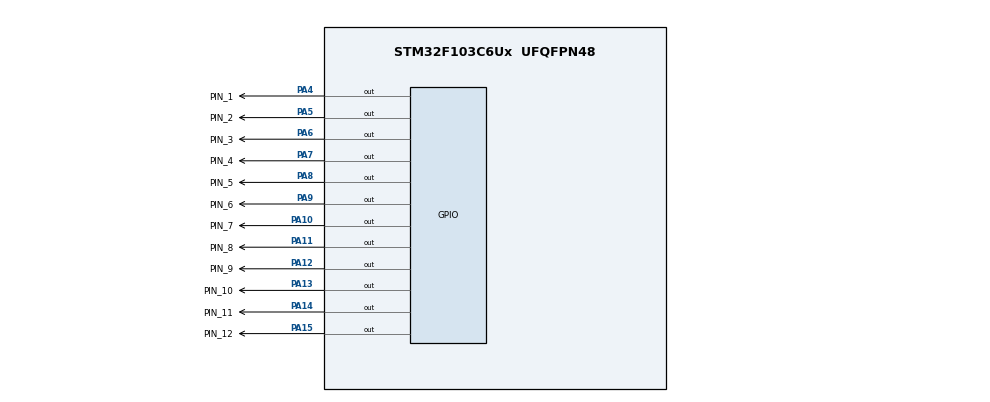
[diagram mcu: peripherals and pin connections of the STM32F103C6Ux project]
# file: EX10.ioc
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Mcu.Family=STM32F1
Mcu.Name=STM32F103C6Ux
Mcu.Package=UFQFPN48
NVIC.PriorityGroup=NVIC_PRIORITYGROUP_4
PA10.GPIO_Label=PIN_7
PA10.Signal=GPIO_Output
PA11.GPIO_Label=PIN_8
PA11.Signal=GPIO_Output
PA12.GPIO_Label=PIN_9
PA12.Signal=GPIO_Output
PA13.GPIO_Label=PIN_10
PA13.Signal=GPIO_Output
PA14.GPIO_Label=PIN_11
PA14.Signal=GPIO_Output
PA15.GPIO_Label=PIN_12
PA15.Signal=GPIO_Output
PA4.GPIO_Label=PIN_1
PA4.Signal=GPIO_Output
PA5.GPIO_Label=PIN_2
PA5.Signal=GPIO_Output
PA6.GPIO_Label=PIN_3
PA6.Signal=GPIO_Output
PA7.GPIO_Label=PIN_4
PA7.Signal=GPIO_Output
PA8.GPIO_Label=PIN_5
PA8.Signal=GPIO_Output
PA9.GPIO_Label=PIN_6
PA9.Signal=GPIO_Output
ProjectManager.HeapSize=0x200
ProjectManager.StackSize=0x400
ProjectManager.TargetToolchain=STM32CubeIDE
RCC.APB1Freq_Value=8000000
RCC.APB2Freq_Value=8000000
VP_SYS_VS_ND.Mode=No_Debug
board=custom

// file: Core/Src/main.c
/* USER CODE BEGIN Header */
/**
  ******************************************************************************
  * @file           : main.c
  * @brief          : Main program body
  ******************************************************************************
  * @attention
  *
  * <h2><center>&copy; Copyright (c) 2026 STMicroelectronics.
  * All rights reserved.</center></h2>
  *
  * This software component is licensed by ST under BSD 3-Clause license,
  * the "License"; You may not use this file except in compliance with the
  * License. You may obtain a copy of the License at:
  *                        opensource.org/licenses/BSD-3-Clause
  *
  ******************************************************************************
  */
/* USER CODE END Header */
#include "main.h"

void SystemClock_Config(void);
static void MX_GPIO_Init(void);
/* USER CODE BEGIN PFP */
void clearAllClock(void);
void setNumberOnClock(int num);
void clearNumberOnClock(int num);
/* USER CODE END PFP */

int main(void)
{

  /* MCU Configuration--------------------------------------------------------*/

  /* Reset of all peripherals, Initializes the Flash interface and the Systick. */
  HAL_Init();

  /* Configure the system clock */
  SystemClock_Config();

  /* Initialize all configured peripherals */
  MX_GPIO_Init();
  /* USER CODE BEGIN 2 */

  HAL_GPIO_WritePin(GPIOA, GPIO_PIN_4 | GPIO_PIN_5 | GPIO_PIN_6 | GPIO_PIN_7 |
                             GPIO_PIN_8 | GPIO_PIN_9 | GPIO_PIN_10 | GPIO_PIN_11 |
                             GPIO_PIN_12 | GPIO_PIN_13 | GPIO_PIN_14 | GPIO_PIN_15, GPIO_PIN_RESET);
  /* USER CODE END 2 */

  int sec=0;
  int min=0;
  int hour=0;
  /* Infinite loop */
  while (1)
  {
	 clearAllClock();
	 setNumberOnClock(hour%12);
	 setNumberOnClock(min/5);
	 setNumberOnClock(sec/5);
	 sec++;
	     if (sec >= 60) {
	         sec = 0;
	         min++;
	     }
	     if (min >= 60) {
	         min = 0;
	         hour++;
	     }
	     if (hour >= 24) {
	         hour = 0;
	     }
	 HAL_Delay(1000);
  }
}

void SystemClock_Config(void)
{
  RCC_OscInitTypeDef RCC_OscInitStruct = {0};
  RCC_ClkInitTypeDef RCC_ClkInitStruct = {0};

  /** Initializes the RCC Oscillators according to the specified parameters
  * in the RCC_OscInitTypeDef structure.
  */
  RCC_OscInitStruct.OscillatorType = RCC_OSCILLATORTYPE_HSI;
  RCC_OscInitStruct.HSIState = RCC_HSI_ON;
  RCC_OscInitStruct.HSICalibrationValue = RCC_HSICALIBRATION_DEFAULT;
  RCC_OscInitStruct.PLL.PLLState = RCC_PLL_NONE;
  if (HAL_RCC_OscConfig(&RCC_OscInitStruct) != HAL_OK)
  {
    Error_Handler();
  }
  /** Initializes the CPU, AHB and APB buses clocks
  */
  RCC_ClkInitStruct.ClockType = RCC_CLOCKTYPE_HCLK|RCC_CLOCKTYPE_SYSCLK
                              |RCC_CLOCKTYPE_PCLK1|RCC_CLOCKTYPE_PCLK2;
  RCC_ClkInitStruct.SYSCLKSource = RCC_SYSCLKSOURCE_HSI;
  RCC_ClkInitStruct.AHBCLKDivider = RCC_SYSCLK_DIV1;
  RCC_ClkInitStruct.APB1CLKDivider = RCC_HCLK_DIV1;
  RCC_ClkInitStruct.APB2CLKDivider = RCC_HCLK_DIV1;

  if (HAL_RCC_ClockConfig(&RCC_ClkInitStruct, FLASH_LATENCY_0) != HAL_OK)
  {
    Error_Handler();
  }
}

static void MX_GPIO_Init(void)
{
  GPIO_InitTypeDef GPIO_InitStruct = {0};

  /* GPIO Ports Clock Enable */
  __HAL_RCC_GPIOA_CLK_ENABLE();

  /*Configure GPIO pin Output Level */
  HAL_GPIO_WritePin(GPIOA, PIN_1_Pin|PIN_2_Pin|PIN_3_Pin|PIN_4_Pin
                          |PIN_5_Pin|PIN_6_Pin|PIN_7_Pin|PIN_8_Pin
                          |PIN_9_Pin|PIN_10_Pin|PIN_11_Pin|PIN_12_Pin, GPIO_PIN_RESET);

  /*Configure GPIO pins : PIN_1_Pin PIN_2_Pin PIN_3_Pin PIN_4_Pin
                           PIN_5_Pin PIN_6_Pin PIN_7_Pin PIN_8_Pin
                           PIN_9_Pin PIN_10_Pin PIN_11_Pin PIN_12_Pin */
  GPIO_InitStruct.Pin = PIN_1_Pin|PIN_2_Pin|PIN_3_Pin|PIN_4_Pin
                          |PIN_5_Pin|PIN_6_Pin|PIN_7_Pin|PIN_8_Pin
                          |PIN_9_Pin|PIN_10_Pin|PIN_11_Pin|PIN_12_Pin;
  GPIO_InitStruct.Mode = GPIO_MODE_OUTPUT_PP;
  GPIO_InitStruct.Pull = GPIO_NOPULL;
  GPIO_InitStruct.Speed = GPIO_SPEED_FREQ_LOW;
  HAL_GPIO_Init(GPIOA, &GPIO_InitStruct);

}

/* USER CODE BEGIN 4 */
void clearAllClock(void) {
    HAL_GPIO_WritePin(GPIOA, GPIO_PIN_4 | GPIO_PIN_5 | GPIO_PIN_6 | GPIO_PIN_7 |
                             GPIO_PIN_8 | GPIO_PIN_9 | GPIO_PIN_10 | GPIO_PIN_11 |
                             GPIO_PIN_12 | GPIO_PIN_13 | GPIO_PIN_14 | GPIO_PIN_15, GPIO_PIN_SET);
}
void setNumberOnClock(int num)
{
    if (num < 0 || num > 11) return;
    uint16_t pin = GPIO_PIN_4 << num;
    HAL_GPIO_WritePin(GPIOA, pin, GPIO_PIN_RESET);
}
void clearNumberOnClock(int num) {
    if (num < 0 || num > 11) return;
    uint16_t pin = GPIO_PIN_4 << num;
    HAL_GPIO_WritePin(GPIOA, pin, GPIO_PIN_SET);
}
/* USER CODE END 4 */

void Error_Handler(void)
{
  __disable_irq();
  while (1)
  {
  }
}

/************************ (C) COPYRIGHT STMicroelectronics *****END OF FILE****/
